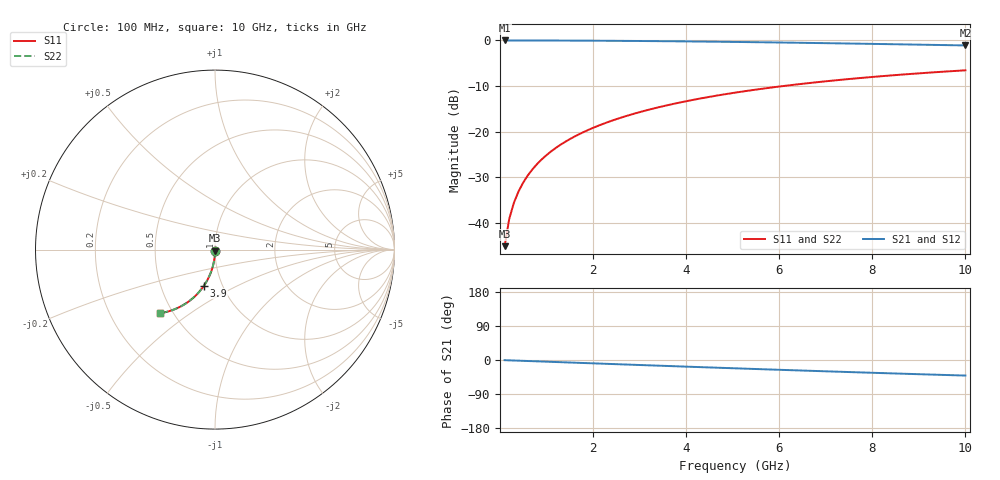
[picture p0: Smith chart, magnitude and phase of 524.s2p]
# Hz S RI R 50.00
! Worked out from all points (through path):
!   100 points, 100 MHz to 10 GHz, reference 50 ohm
!   highest |S21| = 0.00 dB at 100 MHz (marker M1); lowest = -1.1 dB at 10 GHz (marker M2)
!   group delay of S21, straight-line fit = 11.5 ps
!   lowest |S11| = -45.1 dB at 100 MHz (marker M3), VSWR 1.01, Z = 50 - j0.553 ohm
!   |S11| at or under -10 dB: start of sweep to 6.09 GHz
!   |S22| runs from -45.1 to -6.6 dB; largest |S21 - S12| = 0
!   S11 on the Smith chart (normalised r, x): 100 MHz: 1.00, -0.01; 3.9 GHz: 0.82, -0.34; 10 GHz: 0.42, -0.39
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1e8  0.00026 -0.00553  0.9996 -0.00772  0.9996 -0.00772  0.00026 -0.00553
2e8  0.000128 -0.0111  0.9995 -0.0154  0.9995 -0.0154  0.000128 -0.0111
3e8  -9.03e-05 -0.0166  0.9993 -0.0231  0.9993 -0.0231  -9.03e-05 -0.0166
4e8  -0.000394 -0.0221  0.9989 -0.0309  0.9989 -0.0309  -0.000394 -0.0221
5e8  -0.000783 -0.0276  0.9985 -0.0386  0.9985 -0.0386  -0.000783 -0.0276
6e8  -0.00126 -0.0331  0.998 -0.0463  0.998 -0.0463  -0.00126 -0.0331
7e8  -0.00182 -0.0386  0.9974 -0.0539  0.9974 -0.0539  -0.00182 -0.0386
8e8  -0.00246 -0.0441  0.9967 -0.0616  0.9967 -0.0616  -0.00246 -0.0441
9e8  -0.00319 -0.0496  0.996 -0.0693  0.996 -0.0693  -0.00319 -0.0496
1.1e9  -0.0049 -0.0605  0.9942 -0.0846  0.9942 -0.0846  -0.0049 -0.0605
1.4e9  -0.00809 -0.0768  0.9908 -0.1074  0.9908 -0.1074  -0.00809 -0.0768
1.8e9  -0.0135 -0.0981  0.9851 -0.1375  0.9851 -0.1375  -0.0135 -0.0981
2.1e9  -0.0184 -0.1138  0.9799 -0.1598  0.9799 -0.1598  -0.0184 -0.1138
2.5e9  -0.026 -0.1344  0.9719 -0.1892  0.9719 -0.1892  -0.026 -0.1344
2.9e9  -0.0348 -0.1543  0.9625 -0.2179  0.9625 -0.2179  -0.0348 -0.1543
3.4e9  -0.0474 -0.1782  0.9492 -0.2529  0.9492 -0.2529  -0.0474 -0.1782
3.9e9  -0.0616 -0.201  0.934 -0.2867  0.934 -0.2867  -0.0616 -0.201
5.1e9  -0.1016 -0.25  0.8913 -0.3624  0.8913 -0.3624  -0.1016 -0.25
5.9e9  -0.132 -0.2777  0.8587 -0.4082  0.8587 -0.4082  -0.132 -0.2777
6.7e9  -0.1646 -0.3013  0.8236 -0.4498  0.8236 -0.4498  -0.1646 -0.3013
8.4e9  -0.2383 -0.3374  0.7432 -0.5248  0.7432 -0.5248  -0.2383 -0.3374
1e10  -0.3091 -0.3545  0.6645 -0.5791  0.6645 -0.5791  -0.3091 -0.3545
